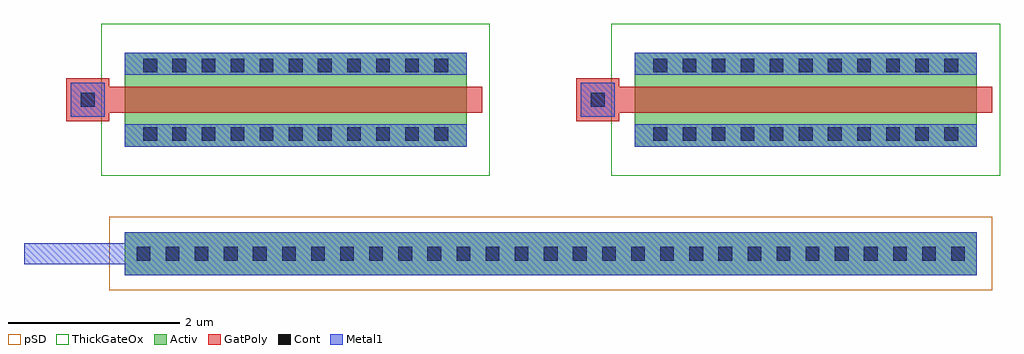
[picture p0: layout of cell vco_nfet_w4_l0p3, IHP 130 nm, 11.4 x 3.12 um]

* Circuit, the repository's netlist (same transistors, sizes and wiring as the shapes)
* extracted by klt extract --deck sg13cmos5l

* cell vco_nfet_w4_l0p3
* pin vsubs
.SUBCKT vco_nfet_w4_l0p3 vsubs
* device instance $1 r0 *1 3.3,3.01 nfet
X$1 \$3 \$1 \$4 vsubs sg13_hv_nmos L=0.3U W=4U AS=1.6P AD=1.6P PS=8.8U PD=8.8U
* device instance $2 r0 *1 9.26,3.01 nfet
X$2 \$5 \$2 \$6 vsubs sg13_hv_nmos L=0.3U W=4U AS=1.6P AD=1.6P PS=8.8U PD=8.8U
.ENDS vco_nfet_w4_l0p3

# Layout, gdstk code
import gdstk
lib = gdstk.Library(unit=1e-6, precision=1e-09)
def R(c, l, rs):  # rectangles x0, y0, x1, y1
    for r in rs: c.add(gdstk.rectangle(r[:2], r[2:], *l))
def A(c, l, x, y, w, h, nx, ny, dx, dy):  # array of equal rectangles
    R(c, l, [(x+i*dx, y+j*dy, x+i*dx+w, y+j*dy+h) for i in range(nx) for j in range(ny)])
Activ = (1, 0)
GatPoly = (5, 0)
Cont = (6, 0)
Metal1 = (8, 0)
pSD = (14, 0)
ThickGateOx = (44, 0)

vco_nfet_w4_l0p3 = lib.new_cell('vco_nfet_w4_l0p3')
R(vco_nfet_w4_l0p3, Activ, [(1.3,0.96,11.26,1.46), (1.3,2.46,5.3,3.56), (7.26,2.46,11.26,3.56)])
R(vco_nfet_w4_l0p3, GatPoly, [(0.62,2.76,1.12,3.26), (6.58,2.76,7.08,3.26), (1.12,2.86,5.48,3.16), (7.08,2.86,11.44,3.16)])
A(vco_nfet_w4_l0p3, Cont, 1.44, 1.13, 0.16, 0.16, 29, 1, 0.34, 0)
A(vco_nfet_w4_l0p3, Cont, 1.52, 2.53, 0.16, 0.16, 11, 2, 0.34, 0.8)
A(vco_nfet_w4_l0p3, Cont, 7.48, 2.53, 0.16, 0.16, 11, 2, 0.34, 0.8)
R(vco_nfet_w4_l0p3, Cont, [(0.79,2.93,0.95,3.09), (6.75,2.93,6.91,3.09)])
R(vco_nfet_w4_l0p3, Metal1, [(1.3,0.96,11.26,1.46), (0.125,1.085,1.3,1.335), (1.3,2.46,5.3,2.72), (7.26,2.46,11.26,2.72), (0.67,2.81,1.07,3.21), (6.63,2.81,7.03,3.21), (1.3,3.3,5.3,3.56), (7.26,3.3,11.26,3.56)])
R(vco_nfet_w4_l0p3, pSD, [(1.12,0.78,11.44,1.64)])
R(vco_nfet_w4_l0p3, ThickGateOx, [(1.03,2.12,5.57,3.9), (6.99,2.12,11.53,3.9)])

lib.write_gds('vco_nfet_w4_l0p3.gds')
